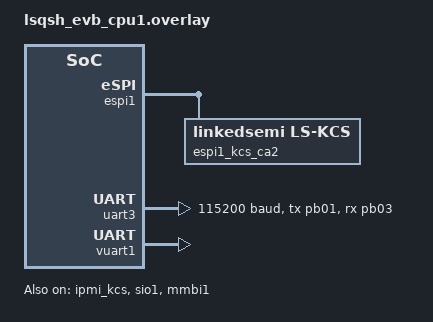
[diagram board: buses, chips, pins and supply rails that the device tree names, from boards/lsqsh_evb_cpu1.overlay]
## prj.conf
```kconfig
# nothing here
CONFIG_I2C=y
CONFIG_I2C_SHELL=y
```

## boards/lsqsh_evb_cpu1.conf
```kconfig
CONFIG_GPIO=y
CONFIG_GPIO_LINKEDSEMI_SGPIOM=n

CONFIG_I2C=y
CONFIG_I2C_TARGET=y
CONFIG_EEPROM=y

CONFIG_ESPI=y
CONFIG_KCS=y
CONFIG_IPMI=y

CONFIG_SHELL=y

CONFIG_PECI=y
CONFIG_SHELL_STACK_SIZE=10240
CONFIG_SYSTEM_WORKQUEUE_STACK_SIZE=10240

CONFIG_HW_STACK_PROTECTION=y
```

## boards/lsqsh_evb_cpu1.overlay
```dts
/*
 * Copyright (c) 2025, linkedsemi
 * SPDX-License-Identifier: Apache-2.0
 */

&sgpiom2 {
    status = "disabled";
};

&sgpiom2_a_d {
    status = "disabled";
};

&sgpiom2_e_h{
    status = "disabled";
};

&sgpiom2_i_l {
    status = "disabled";
};

&sgpiom2_m_p {
    status = "disabled";
};

&espi1 {
    espi1_kcs_ca2: espi1_kcs_ca2 {
        compatible = "linkedsemi,ls-kcs";
        port = <0xca2 0xca3>;
        status = "okay";
    };
    status = "okay";
};

&ipmi_kcs {
    kcs_chan = <&espi1_kcs_ca2>;
    status = "okay";
};

&uart3 {
    /delete-property/ interrupts;
    pinctrl-0 = <&uart3_tx_pb01 &uart3_rx_pb03>;
    pinctrl-names = "default";
    current-speed = <115200>;
    status = "okay";
};

&vuart1 {
    interrupts = <UART3_IRQN 3>;
    uart = <&uart3>;
    status = "okay";
};

&sio1 {
    status = "okay";
};

&mmbi1 {
    status = "okay";
};
```

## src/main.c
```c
/*
 * Copyright (c) 2012-2014 Wind River Systems, Inc.
 *
 * SPDX-License-Identifier: Apache-2.0
 */

#include <stdio.h>
#include <zephyr/drivers/i2c.h>

#include "peci.c"
#include "ls_soc_gpio.h"

int set_cpld_power_on(void)
{
    const struct device *const i2c_master = DEVICE_DT_GET(DT_NODELABEL(i2c8));

    uint16_t dev_addr = 0x10;
    uint8_t wdata[] = {0x1, 0x30, 0x2};

    printf("Hello World! %s\n", CONFIG_BOARD_TARGET);

    if (!device_is_ready(i2c_master)) {
        __ASSERT(0,"I2C device is not ready\n");
    }
    if (i2c_configure(i2c_master, I2C_SPEED_SET(I2C_SPEED_STANDARD) | I2C_MODE_CONTROLLER) )
    {
        __ASSERT(0,"I2C device config failed\n");
    }

    i2c_write(i2c_master, wdata, sizeof(wdata), dev_addr);

    return 0;
}

int main(void)
{
    // set_cpld_power_on();
    printf("boot...");
    printf("espi done");

    printf("peci start");
    peci_main();

    // while(1) {
    //     printf("cs %d\n", io_get_input_val(PI10));
    //     printf("clk %d\n", io_get_input_val(PI11));
    // }

    return 0;
}
```

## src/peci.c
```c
// /*
//  * Copyright (c) 2020 Intel Corporation
//  *
//  * SPDX-License-Identifier: Apache-2.0
//  */

// #include <zephyr/kernel.h>
// #include <zephyr/sys/printk.h>
// #include <zephyr/drivers/peci.h>
// #include <soc.h>

// #define TASK_STACK_SIZE         4096
// #define PRIORITY                7

// /* PECI Host address */
// #define PECI_HOST_ADDR          0x30u
// /* PECI Host bitrate 1Mbps */
// #define PECI_HOST_BITRATE       1000u

// #define PECI_CONFIGINDEX_TJMAX  16u
// #define PECI_CONFIGHOSTID       0u
// #define PECI_CONFIGPARAM        0u

// #define PECI_SAFE_TEMP          72

// static const struct device *const peci_dev = DEVICE_DT_GET(DT_ALIAS(peci_0));
// static bool peci_initialized;
// static uint8_t cpu_tjmax;
// static uint8_t rx_fcs;
// static void monitor_temperature_func(void *dummy1, void *dummy2, void *dummy3);

// static struct k_thread temp_id;
// K_THREAD_STACK_DEFINE(temp_stack, TASK_STACK_SIZE);

// int peci_ping(void)
// {
// 	int ret;
// 	struct peci_msg packet;

// 	printk("%s\n", __func__);

// 	packet.addr = PECI_HOST_ADDR;
// 	packet.cmd_code = PECI_CMD_PING;
// 	packet.tx_buffer.buf = NULL;
// 	packet.tx_buffer.len = PECI_PING_WR_LEN;
// 	packet.rx_buffer.buf = NULL;
// 	packet.rx_buffer.len = PECI_PING_RD_LEN;

// 	ret = peci_transfer(peci_dev, &packet);
// 	if (ret) {
// 		printk("ping failed %d\n", ret);
// 		return ret;
// 	}

// 	return 0;
// }

// int peci_get_tjmax(uint8_t *tjmax)
// {
// 	int ret;
// 	int retries = 3;
// 	uint8_t peci_resp;
// 	struct peci_msg packet;

// 	uint8_t peci_resp_buf[PECI_RD_PKG_LEN_DWORD+1];
// 	uint8_t peci_req_buf[] = { PECI_CONFIGHOSTID,
// 				PECI_CONFIGINDEX_TJMAX,
// 				PECI_CONFIGPARAM & 0x00FF,
// 				(PECI_CONFIGPARAM & 0xFF00) >> 8,
// 	};

// 	packet.tx_buffer.buf = peci_req_buf;
// 	packet.tx_buffer.len = PECI_RD_PKG_WR_LEN;
// 	packet.rx_buffer.buf = peci_resp_buf;
// 	packet.rx_buffer.len = PECI_RD_PKG_LEN_DWORD;

// 	do {
// 		rx_fcs = 0;
// 		packet.addr = PECI_HOST_ADDR;
// 		packet.cmd_code = PECI_CMD_RD_PKG_CFG0;

// 		ret = peci_transfer(peci_dev, &packet);

// 		for (int i = 0; i < PECI_RD_PKG_LEN_DWORD; i++) {
// 			printk("%02x\n", packet.rx_buffer.buf[i]);
// 		}

// 		peci_resp = packet.rx_buffer.buf[0];
// 		rx_fcs = packet.rx_buffer.buf[PECI_RD_PKG_LEN_DWORD];
// 		k_sleep(K_MSEC(1));
// 		printk("\npeci_resp %x\n", peci_resp);
// 		retries--;
// 	} while ((peci_resp != PECI_CC_RSP_SUCCESS) && (retries > 0));

// 	*tjmax = packet.rx_buffer.buf[3];

// 	return 0;
// }

// int peci_get_temp(int *temperature)
// {
// 	int16_t raw_cpu_temp;
// 	int ret;
// 	struct peci_msg packet = {0};

// 	uint8_t peci_resp_buf[PECI_GET_TEMP_RD_LEN+1];

// 	rx_fcs = 0;
// 	packet.tx_buffer.buf = NULL;
// 	packet.tx_buffer.len = PECI_GET_TEMP_WR_LEN;
// 	packet.rx_buffer.buf = peci_resp_buf;
// 	packet.rx_buffer.len = PECI_GET_TEMP_RD_LEN;

// 	packet.addr = PECI_HOST_ADDR;
// 	packet.cmd_code = PECI_CMD_GET_TEMP0;

// 	ret = peci_transfer(peci_dev, &packet);
// 	if (ret) {
// 		printk("Get temp failed %d\n", ret);
// 		return ret;
// 	}

// 	rx_fcs = packet.rx_buffer.buf[PECI_GET_TEMP_RD_LEN];
// 	printk("R FCS %x\n", rx_fcs);
// 	printk("Temp bytes: %02x", packet.rx_buffer.buf[0]);
// 	printk("%02x\n", packet.rx_buffer.buf[1]);

// 	raw_cpu_temp = (int16_t)(packet.rx_buffer.buf[0] |
// 			(int16_t)((packet.rx_buffer.buf[1] << 8) & 0xFF00));

// 	if (raw_cpu_temp == 0x8000) {
// 		printk("Invalid temp %x\n", raw_cpu_temp);
// 		*temperature = PECI_SAFE_TEMP;
// 		return -1;
// 	}

// 	raw_cpu_temp = (raw_cpu_temp >> 6) | 0x7E00;
// 	*temperature = raw_cpu_temp + cpu_tjmax;

// 	return 0;
// }

// void read_temp(void)
// {
// 	int ret;
// 	int temp;

// 	ret = peci_get_temp(&temp);

// 	if (!ret) {
// 		printk("Temperature %d C\n", temp);
// 	}
// }

// void get_max_temp(void)
// {
// 	int ret;

// 	ret = peci_get_tjmax(&cpu_tjmax);
// 	if (ret) {
// 		printk("Fail to obtain maximum temperature: %d\n", ret);
// 	} else {
// 		printk("Maximum temperature: %u\n", cpu_tjmax);
// 	}
// }

// static void monitor_temperature_func(void *dummy1, void *dummy2, void *dummy3)
// {
// 	while (true) {
// 		k_sleep(K_MSEC(1000));
// 		if (peci_initialized) {
// 			get_max_temp();
// 			read_temp();
// 		}
// 	}
// }

int peci_main(void)
{
#if 0
	int ret;

	printk("PECI sample test\n");

	k_thread_create(&temp_id, temp_stack, TASK_STACK_SIZE,
		monitor_temperature_func, NULL, NULL, NULL, PRIORITY,
		K_INHERIT_PERMS, K_FOREVER);

	if (!device_is_ready(peci_dev)) {
		printk("Err: PECI device is not ready\n");
		return 0;
	}

	ret = peci_config(peci_dev, 1000u);
	if (ret) {
		printk("Err: Fail to configure bitrate\n");
		return 0;
	}

	peci_enable(peci_dev);

	cpu_tjmax = 100;

	printk("Start thread...\n");
	k_thread_start(&temp_id);

	peci_initialized = true;
#endif
	return 0;
}
```
